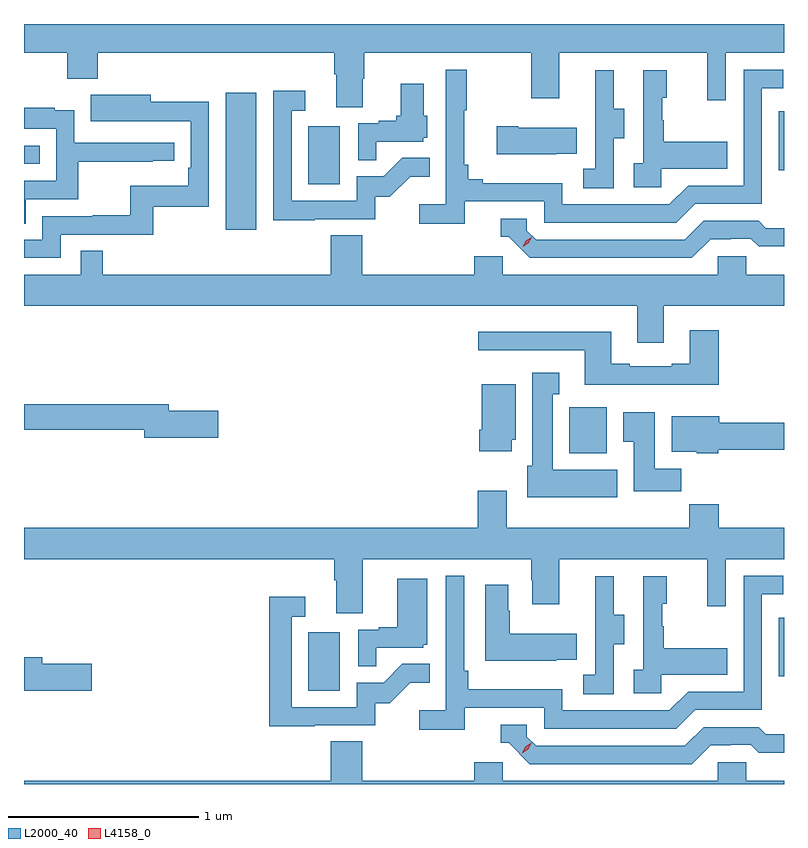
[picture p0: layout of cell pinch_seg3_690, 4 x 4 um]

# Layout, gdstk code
import gdstk
lib = gdstk.Library(unit=1e-6, precision=1e-09)
def R(c, l, rs):  # rectangles x0, y0, x1, y1
    for r in rs: c.add(gdstk.rectangle(r[:2], r[2:], *l))
def P(c, l, *ps):  # polygons
    for p in ps: c.add(gdstk.Polygon(p, *l))
L2000_40 = (2000, 40)
L4158_0 = (4158, 0)

pinch_seg3_690 = lib.new_cell('pinch_seg3_690')
R(pinch_seg3_690, L2000_40, [(1132.796,680.244,1132.96,680.551), (1135.272,680.319,1135.299,680.628), (1134.17,681.494,1134.367,681.736), (1132.361,682.668,1132.522,683.389), (1132.796,682.908,1132.96,683.215), (1135.272,682.983,1135.299,683.292), (1131.299,683.016,1131.383,683.112)])
P(pinch_seg3_690, L2000_40, [(1133.083,683.463),(1133.091,683.463),(1133.091,683.6),(1133.968,683.6),(1133.968,683.361),(1134.115,683.361),(1134.115,683.6),(1134.896,683.6),(1134.896,683.352),(1134.993,683.352),(1134.993,683.6),(1135.299,683.6),(1135.299,683.752),(1131.299,683.752),(1131.299,683.6),(1131.526,683.6),(1131.526,683.465),(1131.686,683.465),(1131.686,683.6),(1132.931,683.6),(1132.931,683.488),(1132.943,683.488),(1132.943,683.314),(1133.083,683.314)],
  [(1133.618,682.818),(1134.036,682.818),(1134.036,682.707),(1134.733,682.707),(1134.832,682.806),(1135.182,682.806),(1135.182,683.415),(1135.295,683.415),(1135.295,683.511),(1135.086,683.511),(1135.086,682.902),(1134.795,682.902),(1134.696,682.803),(1134.132,682.803),(1134.132,682.915),(1133.713,682.915),(1133.713,682.934),(1133.636,682.934),(1133.636,683.011),(1133.617,683.011),(1133.617,683.299),(1133.629,683.299),(1133.629,683.512),(1133.52,683.512),(1133.52,682.804),(1133.379,682.804),(1133.379,682.702),(1133.618,682.702)],
  [(1134.402,683.152),(1134.457,683.152),(1134.457,683.307),(1134.403,683.307),(1134.403,683.509),(1134.305,683.509),(1134.305,683.295),(1134.306,683.295),(1134.306,682.991),(1134.243,682.991),(1134.243,682.888),(1134.402,682.888)],
  [(1134.654,682.991),(1135.001,682.991),(1135.001,683.131),(1134.667,683.131),(1134.667,683.246),(1134.657,683.246),(1134.657,683.364),(1134.682,683.364),(1134.682,683.509),(1134.558,683.509),(1134.558,683.018),(1134.507,683.018),(1134.507,682.893),(1134.654,682.893)],
  [(1133.153,683.133),(1133.4,683.133),(1133.4,683.154),(1133.422,683.154),(1133.422,683.268),(1133.404,683.268),(1133.404,683.437),(1133.282,683.437),(1133.282,683.268),(1133.257,683.268),(1133.257,683.242),(1133.165,683.242),(1133.165,683.229),(1133.058,683.229),(1133.058,683.035),(1133.153,683.035)],
  [(1132.829,682.725),(1133.148,682.725),(1133.148,682.842),(1133.224,682.842),(1133.331,682.949),(1133.435,682.949),(1133.435,683.048),(1133.291,683.048),(1133.193,682.95),(1133.049,682.95),(1133.049,682.821),(1132.707,682.821),(1132.707,683.295),(1132.78,683.295),(1132.78,683.401),(1132.611,683.401),(1132.611,682.72),(1132.829,682.72)],
  [(1131.492,682.644),(1131.979,682.644),(1131.979,682.791),(1132.272,682.791),(1132.272,683.342),(1131.967,683.342),(1131.967,683.38),(1131.649,683.38),(1131.649,683.24),(1131.863,683.24),(1131.863,683.241),(1132.176,683.241),(1132.176,682.996),(1132.163,682.996),(1132.163,682.9),(1131.858,682.9),(1131.858,682.745),(1131.661,682.745),(1131.661,682.74),(1131.396,682.74),(1131.396,682.617),(1131.299,682.617),(1131.299,682.521),(1131.492,682.521)],
  [(1131.307,682.83),(1131.584,682.83),(1131.584,683.026),(1131.977,683.026),(1131.977,683.031),(1132.09,683.031),(1132.09,683.127),(1131.564,683.127),(1131.564,683.299),(1131.461,683.299),(1131.461,683.311),(1131.299,683.311),(1131.299,683.202),(1131.468,683.202),(1131.468,682.926),(1131.299,682.926),(1131.299,682.702),(1131.307,682.702)],
  [(1134.101,683.069),(1134.209,683.069),(1134.209,683.206),(1133.899,683.206),(1133.899,683.214),(1133.787,683.214),(1133.787,683.066),(1134.101,683.066)],
  [(1134.913,682.62),(1135.02,682.62),(1135.02,682.623),(1135.123,682.623),(1135.165,682.581),(1135.299,682.581),(1135.299,682.677),(1135.204,682.677),(1135.165,682.716),(1134.876,682.716),(1134.777,682.617),(1133.994,682.617),(1133.946,682.665),(1133.946,682.728),(1133.807,682.728),(1133.807,682.632),(1133.85,682.632),(1133.961,682.521),(1134.814,682.521)],
  [(1134.667,682.268),(1135.299,682.268),(1135.299,682.432),(1135.101,682.432),(1135.101,682.53),(1134.951,682.53),(1134.951,682.432),(1133.82,682.432),(1133.82,682.53),(1133.669,682.53),(1133.669,682.432),(1133.078,682.432),(1133.078,682.64),(1132.913,682.64),(1132.913,682.432),(1131.713,682.432),(1131.713,682.559),(1131.597,682.559),(1131.597,682.432),(1131.299,682.432),(1131.299,682.268),(1134.527,682.268),(1134.527,682.074),(1134.667,682.074)],
  [(1134.956,682.141),(1134.803,682.141),(1134.803,681.964),(1134.707,681.964),(1134.707,681.951),(1134.487,681.951),(1134.487,681.964),(1134.391,681.964),(1134.391,682.132),(1133.691,682.132),(1133.691,682.035),(1134.251,682.035),(1134.251,681.854),(1134.956,681.854)],
  [(1134.421,681.406),(1134.082,681.406),(1134.082,681.803),(1134.115,681.803),(1134.115,681.916),(1133.975,681.916),(1133.975,681.426),(1133.948,681.426),(1133.948,681.26),(1134.421,681.26)],
  [(1133.866,681.564),(1133.887,681.564),(1133.887,681.856),(1133.708,681.856),(1133.708,681.616),(1133.696,681.616),(1133.696,681.504),(1133.866,681.504)],
  [(1132.321,681.716),(1132.06,681.716),(1132.06,681.752),(1131.299,681.752),(1131.299,681.616),(1131.932,681.616),(1131.932,681.574),(1132.321,681.574)],
  [(1134.758,681.412),(1134.619,681.412),(1134.619,681.709),(1134.452,681.709),(1134.452,681.553),(1134.509,681.553),(1134.509,681.294),(1134.758,681.294)],
  [(1134.954,681.511),(1135.299,681.511),(1135.299,681.653),(1134.958,681.653),(1134.958,681.688),(1134.707,681.688),(1134.707,681.5),(1134.84,681.5),(1134.84,681.494),(1134.954,681.494)],
  [(1133.083,680.936),(1133.968,680.936),(1133.968,680.825),(1133.975,680.825),(1133.975,680.697),(1134.115,680.697),(1134.115,680.936),(1134.896,680.936),(1134.896,680.688),(1134.993,680.688),(1134.993,680.936),(1135.299,680.936),(1135.299,681.1),(1134.956,681.1),(1134.956,681.224),(1134.799,681.224),(1134.799,681.1),(1133.839,681.1),(1133.839,681.295),(1133.687,681.295),(1133.687,681.1),(1131.299,681.1),(1131.299,680.936),(1132.931,680.936),(1132.931,680.824),(1132.943,680.824),(1132.943,680.65),(1133.083,680.65)],
  [(1133.618,680.154),(1134.036,680.154),(1134.036,680.043),(1134.733,680.043),(1134.832,680.142),(1135.182,680.142),(1135.182,680.751),(1135.295,680.751),(1135.295,680.847),(1135.086,680.847),(1135.086,680.238),(1134.795,680.238),(1134.696,680.139),(1134.132,680.139),(1134.132,680.251),(1133.636,680.251),(1133.636,680.347),(1133.616,680.347),(1133.616,680.848),(1133.52,680.848),(1133.52,680.14),(1133.379,680.14),(1133.379,680.038),(1133.618,680.038)],
  [(1134.402,680.488),(1134.457,680.488),(1134.457,680.643),(1134.403,680.643),(1134.403,680.845),(1134.305,680.845),(1134.305,680.631),(1134.306,680.631),(1134.306,680.327),(1134.243,680.327),(1134.243,680.224),(1134.402,680.224)],
  [(1134.654,680.327),(1135.001,680.327),(1135.001,680.467),(1134.667,680.467),(1134.667,680.582),(1134.657,680.582),(1134.657,680.7),(1134.682,680.7),(1134.682,680.845),(1134.558,680.845),(1134.558,680.354),(1134.507,680.354),(1134.507,680.229),(1134.654,680.229)],
  [(1133.153,680.469),(1133.4,680.469),(1133.4,680.484),(1133.422,680.484),(1133.422,680.833),(1133.264,680.833),(1133.264,680.578),(1133.165,680.578),(1133.165,680.565),(1133.058,680.565),(1133.058,680.371),(1133.153,680.371)],
  [(1134.101,680.405),(1134.209,680.405),(1134.209,680.542),(1133.856,680.542),(1133.856,680.663),(1133.848,680.663),(1133.848,680.8),(1133.726,680.8),(1133.726,680.402),(1134.101,680.402)],
  [(1132.829,680.061),(1133.148,680.061),(1133.148,680.178),(1133.224,680.178),(1133.331,680.285),(1133.435,680.285),(1133.435,680.384),(1133.291,680.384),(1133.193,680.286),(1133.049,680.286),(1133.049,680.157),(1132.707,680.157),(1132.707,680.631),(1132.78,680.631),(1132.78,680.737),(1132.591,680.737),(1132.591,680.056),(1132.829,680.056)],
  [(1131.655,680.384),(1131.394,680.384),(1131.394,680.42),(1131.299,680.42),(1131.299,680.242),(1131.655,680.242)],
  [(1134.913,679.956),(1135.02,679.956),(1135.02,679.959),(1135.123,679.959),(1135.165,679.917),(1135.299,679.917),(1135.299,680.013),(1135.204,680.013),(1135.165,680.052),(1134.876,680.052),(1134.777,679.953),(1133.994,679.953),(1133.946,680.001),(1133.946,680.064),(1133.807,680.064),(1133.807,679.968),(1133.85,679.968),(1133.961,679.857),(1134.814,679.857)],
  [(1135.299,679.768),(1135.101,679.768),(1135.101,679.866),(1134.951,679.866),(1134.951,679.768),(1133.82,679.768),(1133.82,679.866),(1133.669,679.866),(1133.669,679.768),(1133.078,679.768),(1133.078,679.976),(1132.913,679.976),(1132.913,679.768),(1131.299,679.768),(1131.299,679.752),(1135.299,679.752)])
P(pinch_seg3_690, L4158_0, [(1133.922,679.915),(1133.922,679.916),(1133.938,679.948),(1133.97,679.968),(1133.97,679.968),(1133.97,679.967),(1133.953,679.935),(1133.922,679.915)],
  [(1133.923,682.579),(1133.923,682.579),(1133.94,682.611),(1133.971,682.63),(1133.971,682.63),(1133.971,682.63),(1133.954,682.598),(1133.923,682.579)])

lib.write_gds('pinch_seg3_690.gds')
